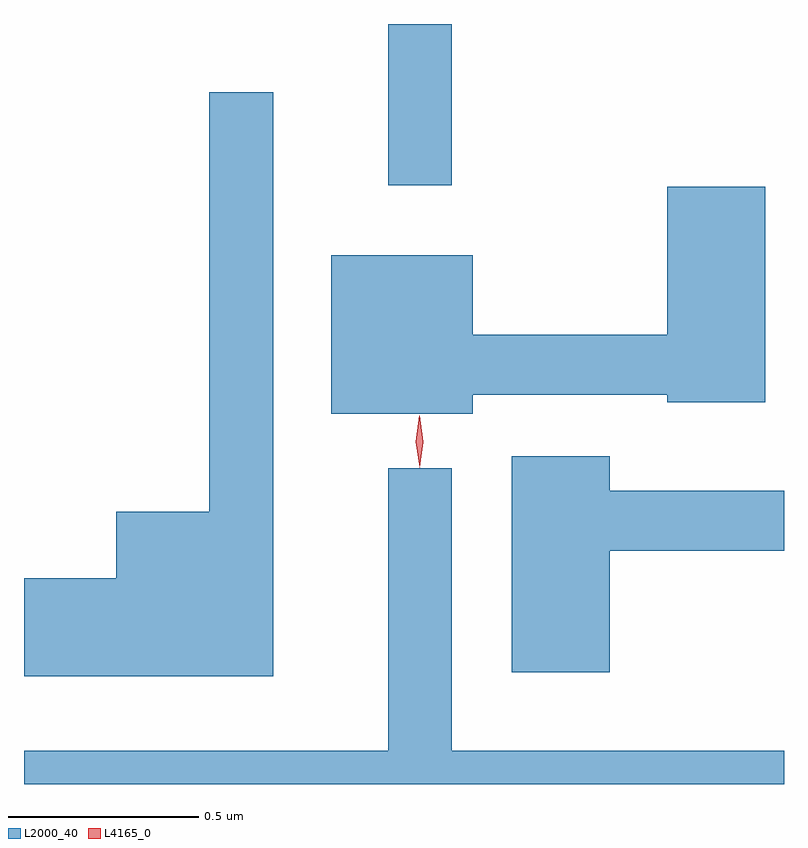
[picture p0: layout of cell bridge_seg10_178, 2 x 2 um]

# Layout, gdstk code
import gdstk
lib = gdstk.Library(unit=1e-6, precision=1e-09)
def R(c, l, rs):  # rectangles x0, y0, x1, y1
    for r in rs: c.add(gdstk.rectangle(r[:2], r[2:], *l))
def P(c, l, *ps):  # polygons
    for p in ps: c.add(gdstk.Polygon(p, *l))
L2000_40 = (2000, 40)
L4165_0 = (4165, 0)

bridge_seg10_178 = lib.new_cell('bridge_seg10_178')
R(bridge_seg10_178, L2000_40, [(1568.731,2089.033,1568.899,2089.457)])
P(bridge_seg10_178, L2000_40, [(1568.429,2089.278),(1568.261,2089.278),(1568.261,2088.174),(1568.016,2088.174),(1568.016,2087.999),(1567.773,2087.999),(1567.773,2087.741),(1568.429,2087.741)],
  [(1568.954,2088.481),(1569.466,2088.481),(1569.466,2088.461),(1569.724,2088.461),(1569.724,2089.029),(1569.466,2089.029),(1569.466,2088.639),(1568.954,2088.639),(1568.954,2088.849),(1568.581,2088.849),(1568.581,2088.431),(1568.954,2088.431)],
  [(1569.314,2088.071),(1569.773,2088.071),(1569.773,2088.229),(1569.314,2088.229),(1569.314,2088.319),(1569.056,2088.319),(1569.056,2087.751),(1569.314,2087.751)],
  [(1569.773,2087.544),(1568.899,2087.544),(1568.899,2088.288),(1568.731,2088.288),(1568.731,2087.544),(1567.773,2087.544),(1567.773,2087.457),(1569.773,2087.457)])
P(bridge_seg10_178, L4165_0, [(1568.815,2088.289),(1568.814,2088.29),(1568.804,2088.358),(1568.813,2088.426),(1568.814,2088.426),(1568.814,2088.426),(1568.824,2088.358),(1568.815,2088.29)],
  [(1568.814,2088.293),(1568.804,2088.357),(1568.813,2088.42),(1568.814,2088.421),(1568.814,2088.42),(1568.824,2088.357),(1568.815,2088.293),(1568.815,2088.293)])

lib.write_gds('bridge_seg10_178.gds')
